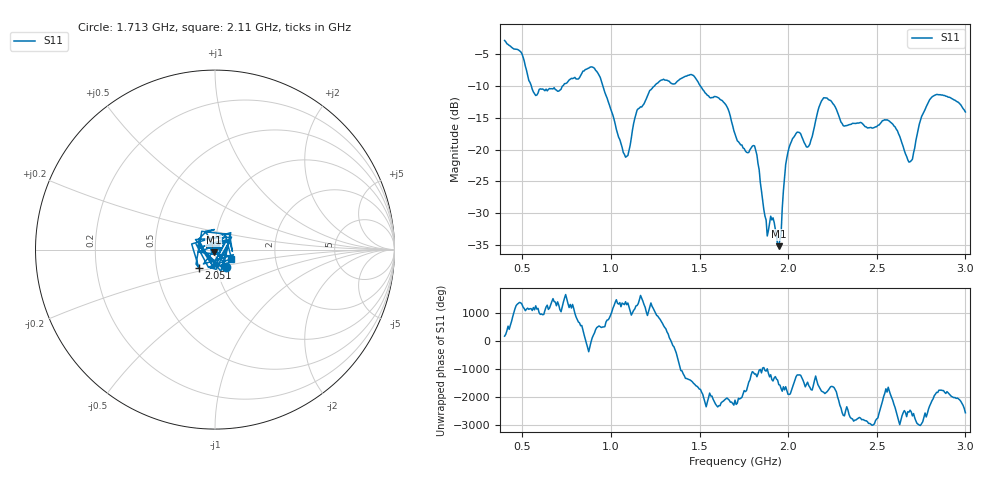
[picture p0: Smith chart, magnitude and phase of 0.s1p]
!Created with skrf (http://scikit-rf.org).
# Hz S RI R 50.0
!freq ReS11 ImS11
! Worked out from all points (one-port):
!   401 points, 400 MHz to 3 GHz, reference 50 ohm
!   lowest |S11| = -35.2 dB at 1.947 GHz (marker M1), VSWR 1.04, Z = 49.2 - j1.51 ohm
!   |S11| at or under -10 dB: 550.8 MHz to 727.6 MHz (176.8 MHz wide, 27.7 % of centre); 954 MHz to 1.246 GHz (291.8 MHz wide, 26.5 % of centre); 1.505 GHz to end of sweep
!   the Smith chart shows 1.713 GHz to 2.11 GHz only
!   S11 on the Smith chart (normalised r, x): 1.713 GHz: 1.11, -0.22; 2.051 GHz: 0.82, -0.17; 2.11 GHz: 1.19, -0.12
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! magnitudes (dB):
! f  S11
! 400 MHz  -2.8
! 491 MHz  -4.6
! 569 MHz  -11.2
! 725 MHz  -10.1
! 907 MHz  -7.2
! 1.05 GHz  -18.4
! 1.089 GHz  -21.1
! 1.141 GHz  -14.4
! 1.226 GHz  -10.6
! 1.375 GHz  -9.2
! 1.46 GHz  -8.3
! 1.622 GHz  -12.2
! 1.7 GHz  -17.5
! 1.713 GHz  -18.6
! 1.81 GHz  -19.4
! 1.875 GHz  -31.1
! 1.915 GHz  -30.7
! 1.947 GHz  -35.2
! 1.992 GHz  -21.3
! 2.025 GHz  -18.3
! 2.051 GHz  -17.3
! 2.11 GHz  -19.6
! 2.207 GHz  -11.9
! 2.35 GHz  -16.1
! 2.571 GHz  -15.5
! 2.675 GHz  -21.6
! 2.812 GHz  -11.7
! 3 GHz  -14.1
